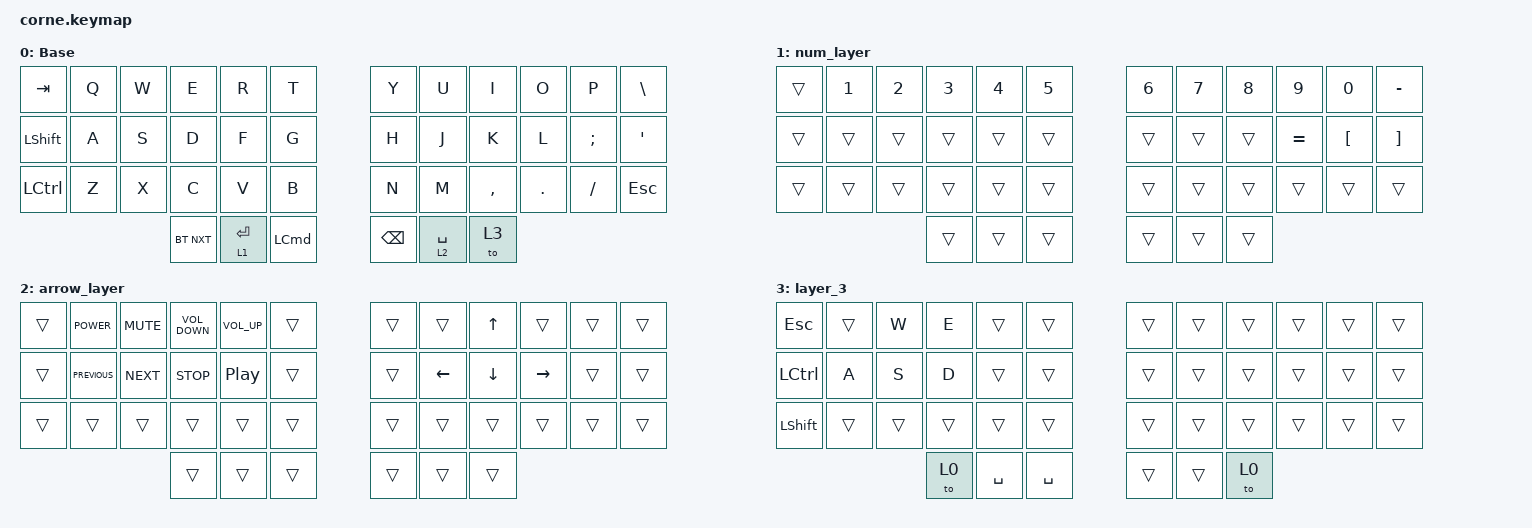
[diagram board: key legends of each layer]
/*
 * Copyright (c) 2020 The ZMK Contributors
 *
 * SPDX-License-Identifier: MIT
 */

#include <behaviors.dtsi>
#include <dt-bindings/zmk/bt.h>
#include <dt-bindings/zmk/keys.h>

/ {
    keymap {
        compatible = "zmk,keymap";

        default_layer {
            // -----------------------------------------------------------------------------------------
            // |  TAB |  Q  |  W  |  E  |  R  |  T  |   |  Y  |  U   |  I  |  O  |  P  | BKSP |
            // | CTRL |  A  |  S  |  D  |  F  |  G  |   |  H  |  J   |  K  |  L  |  ;  |  '   |
            // | SHFT |  Z  |  X  |  C  |  V  |  B  |   |  N  |  M   |  ,  |  .  |  /  | ESC  |
            //                    | GUI | LWR | SPC |   | ENT | RSE  | ALT |

            display-name = "Base";
            bindings = <
&kp TAB           &kp Q  &kp W  &kp E       &kp R        &kp T               &kp Y          &kp U        &kp I      &kp O    &kp P     &kp BACKSLASH
&kp LEFT_SHIFT    &kp A  &kp S  &kp D       &kp F        &kp G               &kp H          &kp J        &kp K      &kp L    &kp SEMI  &kp APOS
&kp LEFT_CONTROL  &kp Z  &kp X  &kp C       &kp V        &kp B               &kp N          &kp M        &kp COMMA  &kp DOT  &kp FSLH  &kp ESC
                                &bt BT_NXT  &lt 1 ENTER  &kp LEFT_COMMAND    &kp BACKSPACE  &lt 2 SPACE  &to 3
            >;
        };

        num_layer {
            bindings = <
&trans  &kp NUMBER_1  &kp NUMBER_2  &kp NUMBER_3  &kp NUMBER_4  &kp N5    &kp NUMBER_6  &kp N7  &kp N8  &kp N9     &kp N0            &kp MINUS
&trans  &trans        &trans        &trans        &trans        &trans    &trans        &trans  &trans  &kp EQUAL  &kp LEFT_BRACKET  &kp RIGHT_BRACKET
&trans  &trans        &trans        &trans        &trans        &trans    &trans        &trans  &trans  &trans     &trans            &trans
                                    &trans        &trans        &trans    &trans        &trans  &trans
            >;
        };

        arrow_layer {
            bindings = <
&trans  &kp K_POWER     &kp K_MUTE  &kp C_VOLUME_DOWN  &kp C_VOLUME_UP   &trans    &trans  &trans          &kp UP_ARROW    &trans           &trans  &trans
&trans  &kp C_PREVIOUS  &kp C_NEXT  &kp C_STOP         &kp C_PLAY_PAUSE  &trans    &trans  &kp LEFT_ARROW  &kp DOWN_ARROW  &kp RIGHT_ARROW  &trans  &trans
&trans  &trans          &trans      &trans             &trans            &trans    &trans  &trans          &trans          &trans           &trans  &trans
                                    &trans             &trans            &trans    &trans  &trans          &trans
            >;
        };

        layer_3 {
            bindings = <
&kp ESC         &trans  &kp W   &kp E   &trans     &trans       &trans  &trans  &trans  &trans  &trans  &trans
&kp LCTRL       &kp A   &kp S   &kp D   &trans     &trans       &trans  &trans  &trans  &trans  &trans  &trans
&kp LEFT_SHIFT  &trans  &trans  &trans  &trans     &trans       &trans  &trans  &trans  &trans  &trans  &trans
                                &to 0   &kp SPACE  &kp SPACE    &trans  &trans  &to 0
            >;
        };
    };
};
